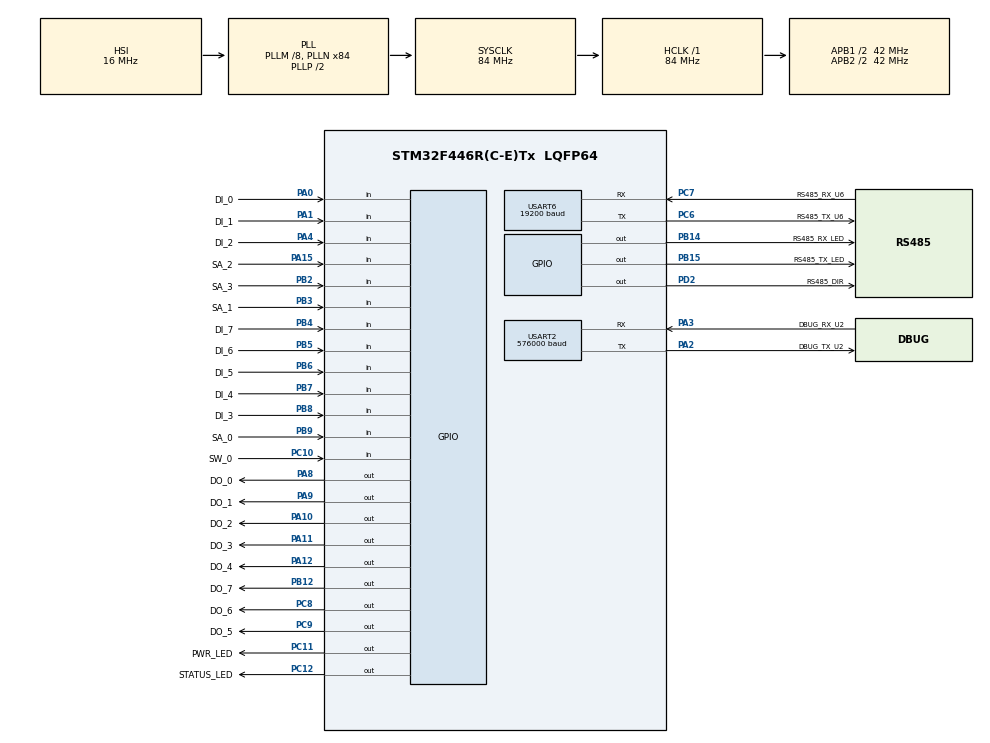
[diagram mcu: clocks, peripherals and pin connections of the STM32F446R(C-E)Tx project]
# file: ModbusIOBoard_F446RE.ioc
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IWDG.Prescaler=IWDG_PRESCALER_64
Mcu.Family=STM32F4
Mcu.Name=STM32F446R(C-E)Tx
Mcu.Package=LQFP64
NVIC.PriorityGroup=NVIC_PRIORITYGROUP_0
NVIC.TIM1_BRK_TIM9_IRQn=true\:0\:5\:true\:false\:true\:true\:true\:true
NVIC.TIM4_IRQn=true\:0\:1\:false\:false\:true\:true\:true\:true
NVIC.TIM5_IRQn=true\:0\:1\:false\:false\:true\:true\:true\:true
NVIC.USART2_IRQn=true\:0\:4\:false\:false\:true\:true\:true\:true
NVIC.USART6_IRQn=true\:0\:0\:false\:false\:true\:true\:true\:true
PA0-WKUP.GPIO_Label=DI_0
PA0-WKUP.GPIO_PuPd=GPIO_PULLDOWN
PA0-WKUP.Signal=GPIO_Input
PA1.GPIO_Label=DI_1
PA1.GPIO_PuPd=GPIO_PULLDOWN
PA1.Signal=GPIO_Input
PA10.GPIO_Label=DO_2
PA10.GPIO_PuPd=GPIO_PULLDOWN
PA10.GPIO_Speed=GPIO_SPEED_FREQ_VERY_HIGH
PA10.Signal=GPIO_Output
PA11.GPIO_Label=DO_3
PA11.GPIO_PuPd=GPIO_PULLDOWN
PA11.GPIO_Speed=GPIO_SPEED_FREQ_VERY_HIGH
PA11.Signal=GPIO_Output
PA12.GPIO_Label=DO_4
PA12.Signal=GPIO_Output
PA13.GPIO_Label=TMS
PA13.Mode=Serial_Wire
PA13.Signal=SYS_JTMS-SWDIO
PA14.GPIO_Label=TCK
PA14.Mode=Serial_Wire
PA14.Signal=SYS_JTCK-SWCLK
PA15.GPIO_Label=SA_2
PA15.GPIO_PuPd=GPIO_PULLDOWN
PA15.Signal=GPIO_Input
PA2.GPIO_Label=DBUG_TX_U2
PA2.GPIO_PuPd=GPIO_NOPULL
PA2.GPIO_Speed=GPIO_SPEED_FREQ_LOW
PA2.Mode=Asynchronous
PA2.Signal=USART2_TX
PA3.GPIO_Label=DBUG_RX_U2
PA3.GPIO_PuPd=GPIO_NOPULL
PA3.GPIO_Speed=GPIO_SPEED_FREQ_LOW
PA3.Mode=Asynchronous
PA3.Signal=USART2_RX
PA4.GPIO_Label=DI_2
PA4.GPIO_PuPd=GPIO_PULLDOWN
PA4.Signal=GPIO_Input
PA8.GPIO_Label=DO_0
PA8.GPIO_PuPd=GPIO_PULLDOWN
PA8.GPIO_Speed=GPIO_SPEED_FREQ_VERY_HIGH
PA8.Signal=GPIO_Output
PA9.GPIO_Label=DO_1
PA9.GPIO_PuPd=GPIO_PULLDOWN
PA9.GPIO_Speed=GPIO_SPEED_FREQ_VERY_HIGH
PA9.Signal=GPIO_Output
PB12.GPIO_Label=DO_7
PB12.Signal=GPIO_Output
PB14.GPIO_Label=RS485_RX_LED
PB14.GPIO_PuPd=GPIO_PULLDOWN
PB14.GPIO_Speed=GPIO_SPEED_FREQ_HIGH
PB14.Signal=GPIO_Output
PB15.GPIO_Label=RS485_TX_LED
PB15.GPIO_PuPd=GPIO_PULLDOWN
PB15.GPIO_Speed=GPIO_SPEED_FREQ_HIGH
PB15.Signal=GPIO_Output
PB2.GPIO_Label=SA_3
PB2.GPIO_PuPd=GPIO_PULLDOWN
PB2.Signal=GPIO_Input
PB3.GPIO_Label=SA_1
PB3.GPIO_PuPd=GPIO_PULLDOWN
PB3.Signal=GPIO_Input
PB4.GPIO_Label=DI_7
PB4.Signal=GPIO_Input
PB5.GPIO_Label=DI_6
PB5.Signal=GPIO_Input
PB6.GPIO_Label=DI_5
PB6.Signal=GPIO_Input
PB7.GPIO_Label=DI_4
PB7.Signal=GPIO_Input
PB8.GPIO_Label=DI_3
PB8.GPIO_PuPd=GPIO_PULLDOWN
PB8.Signal=GPIO_Input
PB9.GPIO_Label=SA_0
PB9.GPIO_PuPd=GPIO_PULLDOWN
PB9.Signal=GPIO_Input
PC10.GPIO_Label=SW_0
PC10.GPIO_PuPd=GPIO_PULLDOWN
PC10.Signal=GPIO_Input
PC11.GPIO_Label=PWR_LED
PC11.GPIO_PuPd=GPIO_PULLDOWN
PC11.Signal=GPIO_Output
PC12.GPIO_Label=STATUS_LED
PC12.GPIO_PuPd=GPIO_PULLDOWN
PC12.Signal=GPIO_Output
PC6.GPIO_Label=RS485_TX_U6
PC6.Mode=Asynchronous
PC6.Signal=USART6_TX
PC7.GPIO_Label=RS485_RX_U6
PC7.Mode=Asynchronous
PC7.Signal=USART6_RX
PC8.GPIO_Label=DO_6
PC8.Signal=GPIO_Output
PC9.GPIO_Label=DO_5
PC9.Signal=GPIO_Output
PD2.GPIO_Label=RS485_DIR
PD2.GPIO_PuPd=GPIO_PULLDOWN
PD2.GPIO_Speed=GPIO_SPEED_FREQ_HIGH
PD2.Signal=GPIO_Output
PH0-OSC_IN.Signal=RCC_OSC_IN
PH1-OSC_OUT.Signal=RCC_OSC_OUT
ProjectManager.HeapSize=0x200
ProjectManager.StackSize=0x400
ProjectManager.TargetToolchain=STM32CubeIDE
RCC.48MHZClocksFreq_Value=24000000
RCC.AHBFreq_Value=84000000
RCC.APB1CLKDivider=RCC_HCLK_DIV2
RCC.APB1Freq_Value=42000000
RCC.APB1TimFreq_Value=84000000
RCC.APB2CLKDivider=RCC_HCLK_DIV2
RCC.APB2Freq_Value=42000000
RCC.APB2TimFreq_Value=84000000
RCC.CortexFreq_Value=84000000
RCC.HCLKFreq_Value=84000000
RCC.HSE_VALUE=8000000
RCC.HSI_VALUE=16000000
RCC.LSE_VALUE=32768
RCC.PLLM=8
RCC.PLLN=84
RCC.PLLQ=7
RCC.SYSCLKFreq_VALUE=84000000
RCC.SYSCLKSource=RCC_SYSCLKSOURCE_PLLCLK
RCC.USBFreq_Value=24000000
RCC.VCOOutputFreq_Value=168000000
TIM3.Period=2000-1
TIM3.Prescaler=84-1
TIM3.TIM_MasterOutputTrigger=TIM_TRGO_ENABLE
TIM4.Period=1563
TIM4.Prescaler=84
TIM5.Period=3647
TIM5.Prescaler=84
TIM6.Prescaler=84-1
TIM9.AutoReloadPreload=TIM_AUTORELOAD_PRELOAD_ENABLE
TIM9.Period=65535
TIM9.Prescaler=84-1
USART2.BaudRate=576000
USART2.VirtualMode=VM_ASYNC
USART6.BaudRate=19200
USART6.OverSampling=UART_OVERSAMPLING_8
USART6.Parity=PARITY_EVEN
USART6.VirtualMode=VM_ASYNC
USART6.WordLength=WORDLENGTH_9B
VP_IWDG_VS_IWDG.Mode=IWDG_Activate
VP_TIM3_VS_ClockSourceINT.Mode=Internal
VP_TIM4_VS_ClockSourceINT.Mode=Internal
VP_TIM5_VS_ClockSourceINT.Mode=Internal
VP_TIM6_VS_ClockSourceINT.Mode=Enable_Timer
VP_TIM9_VS_ClockSourceINT.Mode=Internal
board=custom

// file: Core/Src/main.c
/* USER CODE BEGIN Header */
/**
  ******************************************************************************
  * @file           : main.c
  * @brief          : Main program body
  ******************************************************************************
  * @attention
  *
  * Copyright (c) 2022 STMicroelectronics.
  * All rights reserved.
  *
  * This software is licensed under terms that can be found in the LICENSE file
  * in the root directory of this software component.
  * If no LICENSE file comes with this software, it is provided AS-IS.
  *
  ******************************************************************************
  */
/* USER CODE END Header */
#include "main.h"

/* USER CODE BEGIN Includes */
#include "stm32f4xx_hal_def.h"
#include "stdio.h"
#include "Scheduler.h"
#include "Debug.h"
#include "TimeStamp.h"
#include "Flash_Storag.h"
/* USER CODE END Includes */

IWDG_HandleTypeDef hiwdg;

TIM_HandleTypeDef htim3;
TIM_HandleTypeDef htim4;
TIM_HandleTypeDef htim5;
TIM_HandleTypeDef htim6;
TIM_HandleTypeDef htim9;

UART_HandleTypeDef huart2;
UART_HandleTypeDef huart6;

/* USER CODE BEGIN PV */
GlobalVar gVar;
Debug_ts debug;
TimeStamp timStamp;

/* USER CODE END PV */

void SystemClock_Config(void);
static void MX_GPIO_Init(void);
static void MX_TIM3_Init(void);
static void MX_TIM4_Init(void);
static void MX_TIM5_Init(void);
static void MX_TIM9_Init(void);
static void MX_USART2_UART_Init(void);
static void MX_USART6_UART_Init(void);
static void MX_TIM6_Init(void);
static void MX_IWDG_Init(void);
/* USER CODE BEGIN PFP */

/*------- config the printf() function tx the data to rs232 serial port start---------*/
#ifdef __GNUC__
#define PUTCHAR_PROTOTYPE int __io_putchar(int ch)
#else
#define PUTCHAR_PROTOTYPE int fputc(int ch, FILE *f)
#endif

PUTCHAR_PROTOTYPE
{
  HAL_UART_Transmit(&huart2, (uint8_t *)&ch, 1, HAL_MAX_DELAY);
  return ch;
}

/* USER CODE END PFP */

int main(void)
{

  /* USER CODE BEGIN 1 */
//	SCB->VTOR = 0x08008000;
  /* USER CODE END 1 */

  /* MCU Configuration--------------------------------------------------------*/

  /* Reset of all peripherals, Initializes the Flash interface and the Systick. */
  HAL_Init();

  /* Configure the system clock */
  SystemClock_Config();

  /* Initialize all configured peripherals */
  MX_GPIO_Init();
  MX_TIM3_Init();
  MX_TIM4_Init();
  MX_TIM5_Init();
  MX_TIM9_Init();
  MX_USART2_UART_Init();
  MX_USART6_UART_Init();
  MX_TIM6_Init();
  MX_IWDG_Init();
  /* USER CODE BEGIN 2 */

  /*Init Scheduler--------------*/
  SchedulerInit();

  /* USER CODE END 2 */

  /* Infinite loop */
  /* USER CODE BEGIN WHILE */

  while (1)
  {
	  /*General purpose loop--------------*/
	  static uint32_t tick = 0u;
	  while((HAL_GetTick() - tick) >= 1000){
		  tick = HAL_GetTick();
		  HAL_IWDG_Refresh(&hiwdg);

	  }

	  /*Main Scheduler loop*/
	  Scheduler();

    /* USER CODE END WHILE */

  }
}

void SystemClock_Config(void)
{
  RCC_OscInitTypeDef RCC_OscInitStruct = {0};
  RCC_ClkInitTypeDef RCC_ClkInitStruct = {0};

  /** Configure the main internal regulator output voltage
  */
  __HAL_RCC_PWR_CLK_ENABLE();
  __HAL_PWR_VOLTAGESCALING_CONFIG(PWR_REGULATOR_VOLTAGE_SCALE3);

  /** Initializes the RCC Oscillators according to the specified parameters
  * in the RCC_OscInitTypeDef structure.
  */
  RCC_OscInitStruct.OscillatorType = RCC_OSCILLATORTYPE_HSI|RCC_OSCILLATORTYPE_LSI;
  RCC_OscInitStruct.HSIState = RCC_HSI_ON;
  RCC_OscInitStruct.HSICalibrationValue = RCC_HSICALIBRATION_DEFAULT;
  RCC_OscInitStruct.LSIState = RCC_LSI_ON;
  RCC_OscInitStruct.PLL.PLLState = RCC_PLL_ON;
  RCC_OscInitStruct.PLL.PLLSource = RCC_PLLSOURCE_HSI;
  RCC_OscInitStruct.PLL.PLLM = 8;
  RCC_OscInitStruct.PLL.PLLN = 84;
  RCC_OscInitStruct.PLL.PLLP = RCC_PLLP_DIV2;
  RCC_OscInitStruct.PLL.PLLQ = 7;
  RCC_OscInitStruct.PLL.PLLR = 2;
  if (HAL_RCC_OscConfig(&RCC_OscInitStruct) != HAL_OK)
  {
    Error_Handler();
  }

  /** Initializes the CPU, AHB and APB buses clocks
  */
  RCC_ClkInitStruct.ClockType = RCC_CLOCKTYPE_HCLK|RCC_CLOCKTYPE_SYSCLK
                              |RCC_CLOCKTYPE_PCLK1|RCC_CLOCKTYPE_PCLK2;
  RCC_ClkInitStruct.SYSCLKSource = RCC_SYSCLKSOURCE_PLLCLK;
  RCC_ClkInitStruct.AHBCLKDivider = RCC_SYSCLK_DIV1;
  RCC_ClkInitStruct.APB1CLKDivider = RCC_HCLK_DIV2;
  RCC_ClkInitStruct.APB2CLKDivider = RCC_HCLK_DIV2;

  if (HAL_RCC_ClockConfig(&RCC_ClkInitStruct, FLASH_LATENCY_2) != HAL_OK)
  {
    Error_Handler();
  }
}

static void MX_IWDG_Init(void)
{

  hiwdg.Instance = IWDG;
  hiwdg.Init.Prescaler = IWDG_PRESCALER_64;
  hiwdg.Init.Reload = 4095;
  if (HAL_IWDG_Init(&hiwdg) != HAL_OK)
  {
    Error_Handler();
  }

}

static void MX_TIM3_Init(void)
{

  TIM_ClockConfigTypeDef sClockSourceConfig = {0};
  TIM_MasterConfigTypeDef sMasterConfig = {0};

  htim3.Instance = TIM3;
  htim3.Init.Prescaler = 84-1;
  htim3.Init.CounterMode = TIM_COUNTERMODE_UP;
  htim3.Init.Period = 2000-1;
  htim3.Init.ClockDivision = TIM_CLOCKDIVISION_DIV1;
  htim3.Init.AutoReloadPreload = TIM_AUTORELOAD_PRELOAD_DISABLE;
  if (HAL_TIM_Base_Init(&htim3) != HAL_OK)
  {
    Error_Handler();
  }
  sClockSourceConfig.ClockSource = TIM_CLOCKSOURCE_INTERNAL;
  if (HAL_TIM_ConfigClockSource(&htim3, &sClockSourceConfig) != HAL_OK)
  {
    Error_Handler();
  }
  sMasterConfig.MasterOutputTrigger = TIM_TRGO_ENABLE;
  sMasterConfig.MasterSlaveMode = TIM_MASTERSLAVEMODE_DISABLE;
  if (HAL_TIMEx_MasterConfigSynchronization(&htim3, &sMasterConfig) != HAL_OK)
  {
    Error_Handler();
  }

}

static void MX_TIM4_Init(void)
{

  TIM_ClockConfigTypeDef sClockSourceConfig = {0};
  TIM_MasterConfigTypeDef sMasterConfig = {0};

  htim4.Instance = TIM4;
  htim4.Init.Prescaler = 84;
  htim4.Init.CounterMode = TIM_COUNTERMODE_UP;
  htim4.Init.Period = 1563;
  htim4.Init.ClockDivision = TIM_CLOCKDIVISION_DIV1;
  htim4.Init.AutoReloadPreload = TIM_AUTORELOAD_PRELOAD_DISABLE;
  if (HAL_TIM_Base_Init(&htim4) != HAL_OK)
  {
    Error_Handler();
  }
  sClockSourceConfig.ClockSource = TIM_CLOCKSOURCE_INTERNAL;
  if (HAL_TIM_ConfigClockSource(&htim4, &sClockSourceConfig) != HAL_OK)
  {
    Error_Handler();
  }
  sMasterConfig.MasterOutputTrigger = TIM_TRGO_RESET;
  sMasterConfig.MasterSlaveMode = TIM_MASTERSLAVEMODE_DISABLE;
  if (HAL_TIMEx_MasterConfigSynchronization(&htim4, &sMasterConfig) != HAL_OK)
  {
    Error_Handler();
  }

}

static void MX_TIM5_Init(void)
{

  TIM_ClockConfigTypeDef sClockSourceConfig = {0};
  TIM_MasterConfigTypeDef sMasterConfig = {0};

  htim5.Instance = TIM5;
  htim5.Init.Prescaler = 84;
  htim5.Init.CounterMode = TIM_COUNTERMODE_UP;
  htim5.Init.Period = 3647;
  htim5.Init.ClockDivision = TIM_CLOCKDIVISION_DIV1;
  htim5.Init.AutoReloadPreload = TIM_AUTORELOAD_PRELOAD_DISABLE;
  if (HAL_TIM_Base_Init(&htim5) != HAL_OK)
  {
    Error_Handler();
  }
  sClockSourceConfig.ClockSource = TIM_CLOCKSOURCE_INTERNAL;
  if (HAL_TIM_ConfigClockSource(&htim5, &sClockSourceConfig) != HAL_OK)
  {
    Error_Handler();
  }
  sMasterConfig.MasterOutputTrigger = TIM_TRGO_RESET;
  sMasterConfig.MasterSlaveMode = TIM_MASTERSLAVEMODE_DISABLE;
  if (HAL_TIMEx_MasterConfigSynchronization(&htim5, &sMasterConfig) != HAL_OK)
  {
    Error_Handler();
  }

}

static void MX_TIM6_Init(void)
{

  TIM_MasterConfigTypeDef sMasterConfig = {0};

  htim6.Instance = TIM6;
  htim6.Init.Prescaler = 84-1;
  htim6.Init.CounterMode = TIM_COUNTERMODE_UP;
  htim6.Init.Period = 65535;
  htim6.Init.AutoReloadPreload = TIM_AUTORELOAD_PRELOAD_DISABLE;
  if (HAL_TIM_Base_Init(&htim6) != HAL_OK)
  {
    Error_Handler();
  }
  sMasterConfig.MasterOutputTrigger = TIM_TRGO_RESET;
  sMasterConfig.MasterSlaveMode = TIM_MASTERSLAVEMODE_DISABLE;
  if (HAL_TIMEx_MasterConfigSynchronization(&htim6, &sMasterConfig) != HAL_OK)
  {
    Error_Handler();
  }

}

static void MX_TIM9_Init(void)
{

  TIM_ClockConfigTypeDef sClockSourceConfig = {0};

  htim9.Instance = TIM9;
  htim9.Init.Prescaler = 84-1;
  htim9.Init.CounterMode = TIM_COUNTERMODE_UP;
  htim9.Init.Period = 65535;
  htim9.Init.ClockDivision = TIM_CLOCKDIVISION_DIV1;
  htim9.Init.AutoReloadPreload = TIM_AUTORELOAD_PRELOAD_ENABLE;
  if (HAL_TIM_Base_Init(&htim9) != HAL_OK)
  {
    Error_Handler();
  }
  sClockSourceConfig.ClockSource = TIM_CLOCKSOURCE_INTERNAL;
  if (HAL_TIM_ConfigClockSource(&htim9, &sClockSourceConfig) != HAL_OK)
  {
    Error_Handler();
  }

}

static void MX_USART2_UART_Init(void)
{

  huart2.Instance = USART2;
  huart2.Init.BaudRate = 576000;
  huart2.Init.WordLength = UART_WORDLENGTH_8B;
  huart2.Init.StopBits = UART_STOPBITS_1;
  huart2.Init.Parity = UART_PARITY_NONE;
  huart2.Init.Mode = UART_MODE_TX_RX;
  huart2.Init.HwFlowCtl = UART_HWCONTROL_NONE;
  huart2.Init.OverSampling = UART_OVERSAMPLING_16;
  if (HAL_UART_Init(&huart2) != HAL_OK)
  {
    Error_Handler();
  }

}

static void MX_USART6_UART_Init(void)
{

  huart6.Instance = USART6;
  huart6.Init.BaudRate = 19200;
  huart6.Init.WordLength = UART_WORDLENGTH_9B;
  huart6.Init.StopBits = UART_STOPBITS_1;
  huart6.Init.Parity = UART_PARITY_EVEN;
  huart6.Init.Mode = UART_MODE_TX_RX;
  huart6.Init.HwFlowCtl = UART_HWCONTROL_NONE;
  huart6.Init.OverSampling = UART_OVERSAMPLING_8;
  if (HAL_UART_Init(&huart6) != HAL_OK)
  {
    Error_Handler();
  }

}

static void MX_GPIO_Init(void)
{
  GPIO_InitTypeDef GPIO_InitStruct = {0};

  /* GPIO Ports Clock Enable */
  __HAL_RCC_GPIOH_CLK_ENABLE();
  __HAL_RCC_GPIOA_CLK_ENABLE();
  __HAL_RCC_GPIOB_CLK_ENABLE();
  __HAL_RCC_GPIOC_CLK_ENABLE();
  __HAL_RCC_GPIOD_CLK_ENABLE();

  /*Configure GPIO pin Output Level */
  HAL_GPIO_WritePin(GPIOB, DO_7_Pin|RS485_RX_LED_Pin|RS485_TX_LED_Pin, GPIO_PIN_RESET);

  /*Configure GPIO pin Output Level */
  HAL_GPIO_WritePin(GPIOC, DO_6_Pin|DO_5_Pin|PWR_LED_Pin|STATUS_LED_Pin, GPIO_PIN_RESET);

  /*Configure GPIO pin Output Level */
  HAL_GPIO_WritePin(GPIOA, DO_0_Pin|DO_1_Pin|DO_2_Pin|DO_3_Pin
                          |DO_4_Pin, GPIO_PIN_RESET);

  /*Configure GPIO pin Output Level */
  HAL_GPIO_WritePin(RS485_DIR_GPIO_Port, RS485_DIR_Pin, GPIO_PIN_RESET);

  /*Configure GPIO pins : DI_0_Pin DI_1_Pin DI_2_Pin SA_2_Pin */
  GPIO_InitStruct.Pin = DI_0_Pin|DI_1_Pin|DI_2_Pin|SA_2_Pin;
  GPIO_InitStruct.Mode = GPIO_MODE_INPUT;
  GPIO_InitStruct.Pull = GPIO_PULLDOWN;
  HAL_GPIO_Init(GPIOA, &GPIO_InitStruct);

  /*Configure GPIO pins : SA_3_Pin SA_1_Pin DI_3_Pin SA_0_Pin */
  GPIO_InitStruct.Pin = SA_3_Pin|SA_1_Pin|DI_3_Pin|SA_0_Pin;
  GPIO_InitStruct.Mode = GPIO_MODE_INPUT;
  GPIO_InitStruct.Pull = GPIO_PULLDOWN;
  HAL_GPIO_Init(GPIOB, &GPIO_InitStruct);

  /*Configure GPIO pin : DO_7_Pin */
  GPIO_InitStruct.Pin = DO_7_Pin;
  GPIO_InitStruct.Mode = GPIO_MODE_OUTPUT_PP;
  GPIO_InitStruct.Pull = GPIO_NOPULL;
  GPIO_InitStruct.Speed = GPIO_SPEED_FREQ_LOW;
  HAL_GPIO_Init(DO_7_GPIO_Port, &GPIO_InitStruct);

  /*Configure GPIO pins : RS485_RX_LED_Pin RS485_TX_LED_Pin */
  GPIO_InitStruct.Pin = RS485_RX_LED_Pin|RS485_TX_LED_Pin;
  GPIO_InitStruct.Mode = GPIO_MODE_OUTPUT_PP;
  GPIO_InitStruct.Pull = GPIO_PULLDOWN;
  GPIO_InitStruct.Speed = GPIO_SPEED_FREQ_HIGH;
  HAL_GPIO_Init(GPIOB, &GPIO_InitStruct);

  /*Configure GPIO pins : DO_6_Pin DO_5_Pin */
  GPIO_InitStruct.Pin = DO_6_Pin|DO_5_Pin;
  GPIO_InitStruct.Mode = GPIO_MODE_OUTPUT_PP;
  GPIO_InitStruct.Pull = GPIO_NOPULL;
  GPIO_InitStruct.Speed = GPIO_SPEED_FREQ_LOW;
  HAL_GPIO_Init(GPIOC, &GPIO_InitStruct);

  /*Configure GPIO pins : DO_0_Pin DO_1_Pin DO_2_Pin DO_3_Pin */
  GPIO_InitStruct.Pin = DO_0_Pin|DO_1_Pin|DO_2_Pin|DO_3_Pin;
  GPIO_InitStruct.Mode = GPIO_MODE_OUTPUT_PP;
  GPIO_InitStruct.Pull = GPIO_PULLDOWN;
  GPIO_InitStruct.Speed = GPIO_SPEED_FREQ_VERY_HIGH;
  HAL_GPIO_Init(GPIOA, &GPIO_InitStruct);

  /*Configure GPIO pin : DO_4_Pin */
  GPIO_InitStruct.Pin = DO_4_Pin;
  GPIO_InitStruct.Mode = GPIO_MODE_OUTPUT_PP;
  GPIO_InitStruct.Pull = GPIO_NOPULL;
  GPIO_InitStruct.Speed = GPIO_SPEED_FREQ_LOW;
  HAL_GPIO_Init(DO_4_GPIO_Port, &GPIO_InitStruct);

  /*Configure GPIO pin : SW_0_Pin */
  GPIO_InitStruct.Pin = SW_0_Pin;
  GPIO_InitStruct.Mode = GPIO_MODE_INPUT;
  GPIO_InitStruct.Pull = GPIO_PULLDOWN;
  HAL_GPIO_Init(SW_0_GPIO_Port, &GPIO_InitStruct);

  /*Configure GPIO pins : PWR_LED_Pin STATUS_LED_Pin */
  GPIO_InitStruct.Pin = PWR_LED_Pin|STATUS_LED_Pin;
  GPIO_InitStruct.Mode = GPIO_MODE_OUTPUT_PP;
  GPIO_InitStruct.Pull = GPIO_PULLDOWN;
  GPIO_InitStruct.Speed = GPIO_SPEED_FREQ_LOW;
  HAL_GPIO_Init(GPIOC, &GPIO_InitStruct);

  /*Configure GPIO pin : RS485_DIR_Pin */
  GPIO_InitStruct.Pin = RS485_DIR_Pin;
  GPIO_InitStruct.Mode = GPIO_MODE_OUTPUT_PP;
  GPIO_InitStruct.Pull = GPIO_PULLDOWN;
  GPIO_InitStruct.Speed = GPIO_SPEED_FREQ_HIGH;
  HAL_GPIO_Init(RS485_DIR_GPIO_Port, &GPIO_InitStruct);

  /*Configure GPIO pins : DI_7_Pin DI_6_Pin DI_5_Pin DI_4_Pin */
  GPIO_InitStruct.Pin = DI_7_Pin|DI_6_Pin|DI_5_Pin|DI_4_Pin;
  GPIO_InitStruct.Mode = GPIO_MODE_INPUT;
  GPIO_InitStruct.Pull = GPIO_NOPULL;
  HAL_GPIO_Init(GPIOB, &GPIO_InitStruct);

}

void Error_Handler(void)
{
  __disable_irq();
  while (1)
  {
  }
}
